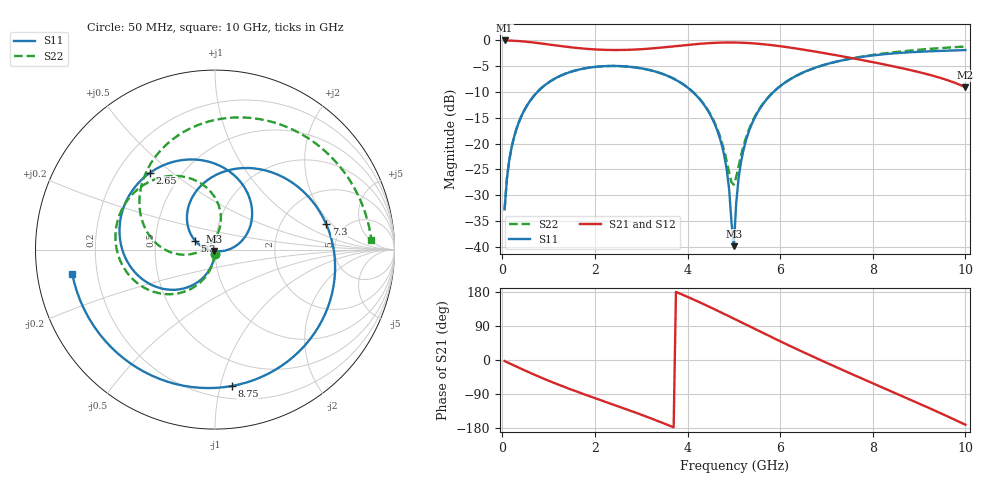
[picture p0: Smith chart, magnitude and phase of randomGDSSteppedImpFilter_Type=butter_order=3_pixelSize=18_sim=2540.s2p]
! freq	dB(S11)	phase(S11)	dB(S12)	phase(S12)
!  dB(S21)	phase(S21)	dB(S22)	phase(S22)
!S-par simulation data
#  GHz  S  DB  R 50
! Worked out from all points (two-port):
!   200 points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, 50 MHz to 10 GHz, reference 50 ohm
!   highest |S21| = 0.00 dB at 50 MHz (marker M1); lowest = -9.1 dB at 10 GHz (marker M2)
!   |S21| within 3 dB of the highest: start of sweep to 7.296 GHz
!   lowest |S11| = -39.9 dB at 5 GHz (marker M3), VSWR 1.02, Z = 49.4 - j0.796 ohm
!   |S11| at or under -10 dB: start of sweep to 756.4 MHz; 4.115 GHz to 5.854 GHz (1.739 GHz wide, 34.9 % of centre)
!   |S22| runs from -32.7 to -1.2 dB; largest |S21 - S12| = 0
!   S11 on the Smith chart (normalised r, x): 50 MHz: 1.00, -0.05; 2.65 GHz: 0.34, +0.42; 5.3 GHz: 0.80, +0.08; 7.3 GHz: 3.63, +1.72; 8.75 GHz: 0.30, -1.08; 10 GHz: 0.11, -0.09
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0.05  -32.74 -93.0  -0.00 -2.9  -0.00 -2.9  -32.74 -92.6
0.2  -20.76 -102.2  -0.04 -11.5  -0.04 -11.5  -20.76 -100.8
0.5  -13.13 -120.2  -0.23 -28.3  -0.23 -28.3  -13.12 -116.8
1.1  -7.57 -153.8  -0.90 -59.6  -0.90 -59.6  -7.57 -146.1
1.75  -5.47 173.4  -1.58 -89.7  -1.58 -89.7  -5.46 -173.9
2.65  -5.03 130.3  -1.84 -128.7  -1.84 -128.7  -5.02 151.5
3.4  -6.30 91.9  -1.41 -162.9  -1.41 -162.9  -6.29 122.4
4.05  -9.48 54.0  -0.83 163.9  -0.83 163.9  -9.45 96.2
4.6  -16.46 16.7  -0.46 132.9  -0.46 132.9  -16.23 78.2
4.85  -25.25 -6.3  -0.39 118.1  -0.39 118.1  -23.56 87.8
5  -39.87 -127.5  -0.40 109.1  -0.40 109.1  -27.94 141.6
5.05  -31.60 -171.0  -0.40 106.1  -0.40 106.1  -26.54 163.4
5.15  -23.80 170.0  -0.43 100.1  -0.43 100.1  -22.44 -175.7
5.3  -18.27 155.7  -0.49 91.1  -0.49 91.1  -17.86 -169.3
6.05  -8.51 99.7  -1.18 46.5  -1.18 46.5  -8.52 167.7
6.7  -5.46 54.0  -2.07 9.4  -2.07 9.4  -5.49 141.3
7.3  -3.93 12.8  -3.01 -23.7  -3.01 -23.7  -3.94 117.3
7.8  -3.14 -20.7  -3.85 -50.8  -3.85 -50.8  -3.08 97.3
8.35  -2.58 -56.8  -4.84 -80.2  -4.84 -80.2  -2.39 75.1
8.75  -2.32 -83.1  -5.62 -101.5  -5.62 -101.5  -2.01 58.6
9.35  -2.06 -123.4  -6.97 -134.0  -6.97 -134.0  -1.55 33.0
10  -1.86 -170.1  -9.06 -170.7  -9.06 -170.7  -1.18 3.5
